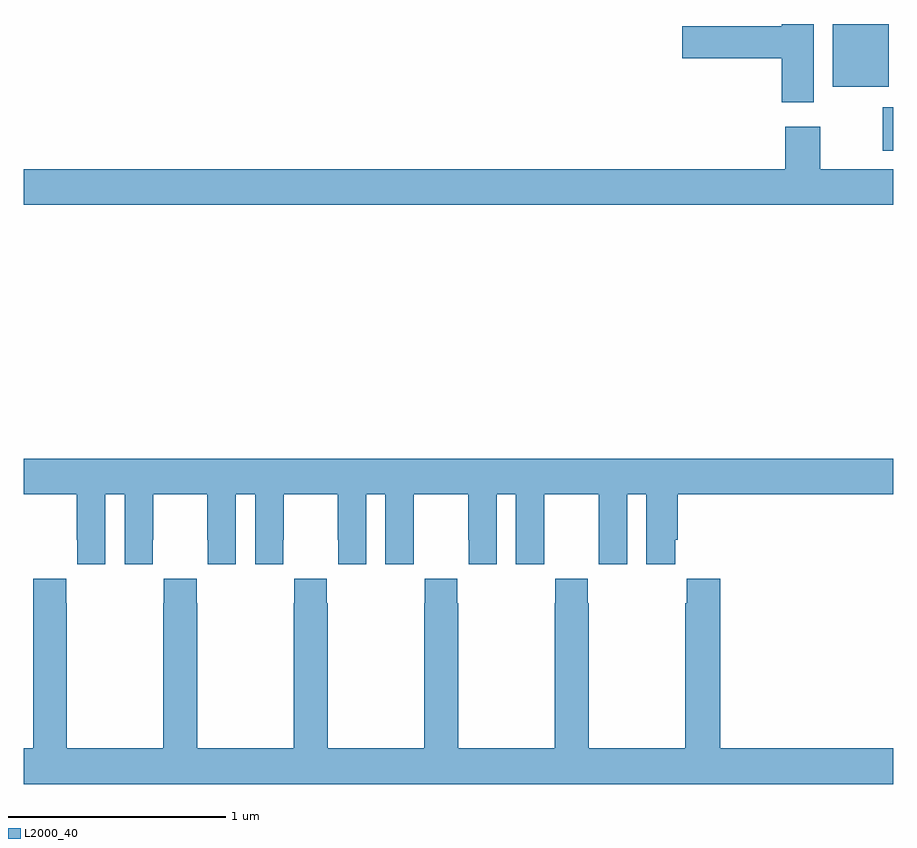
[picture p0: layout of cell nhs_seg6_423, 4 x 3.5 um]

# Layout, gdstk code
import gdstk
lib = gdstk.Library(unit=1e-6, precision=1e-09)
def R(c, l, rs):  # rectangles x0, y0, x1, y1
    for r in rs: c.add(gdstk.rectangle(r[:2], r[2:], *l))
def P(c, l, *ps):  # polygons
    for p in ps: c.add(gdstk.Polygon(p, *l))
L2000_40 = (2000, 40)

nhs_seg6_423 = lib.new_cell('nhs_seg6_423')
R(nhs_seg6_423, L2000_40, [(138.952,948.918,139,949.116), (138.722,949.211,138.979,949.5)])
P(nhs_seg6_423, L2000_40, [(138.634,949.5),(138.488,949.5),(138.488,949.49),(138.03,949.49),(138.03,949.343),(138.488,949.343),(138.488,949.14),(138.634,949.14)],
  [(139,948.832),(138.663,948.832),(138.663,949.027),(138.503,949.027),(138.503,948.832),(135,948.832),(135,948.668),(139,948.668)],
  [(135.376,947.336),(135.464,947.336),(135.464,947.016),(135.594,947.016),(135.594,947.128),(135.595,947.128),(135.595,947.336),(135.845,947.336),(135.845,947.128),(135.846,947.128),(135.846,947.016),(135.976,947.016),(135.976,947.336),(136.064,947.336),(136.064,947.016),(136.194,947.016),(136.194,947.128),(136.195,947.128),(136.195,947.336),(136.445,947.336),(136.445,947.128),(136.446,947.128),(136.446,947.016),(136.576,947.016),(136.576,947.336),(136.664,947.336),(136.664,947.016),(136.794,947.016),(136.794,947.128),(136.795,947.128),(136.795,947.336),(137.045,947.336),(137.045,947.128),(137.046,947.128),(137.046,947.016),(137.176,947.016),(137.176,947.336),(137.264,947.336),(137.264,947.016),(137.394,947.016),(137.394,947.128),(137.395,947.128),(137.395,947.336),(137.645,947.336),(137.645,947.128),(137.646,947.128),(137.646,947.016),(137.776,947.016),(137.776,947.336),(137.864,947.336),(137.864,947.016),(137.998,947.016),(137.998,947.128),(138.008,947.128),(138.008,947.336),(139,947.336),(139,947.5),(135,947.5),(135,947.336),(135.245,947.336),(135.245,947.128),(135.246,947.128),(135.246,947.016),(135.376,947.016)],
  [(139,946.168),(138.203,946.168),(138.203,946.948),(138.049,946.948),(138.049,946.835),(138.043,946.835),(138.043,946.168),(137.598,946.168),(137.598,946.835),(137.595,946.835),(137.595,946.948),(137.445,946.948),(137.445,946.835),(137.443,946.835),(137.443,946.168),(136.998,946.168),(136.998,946.835),(136.995,946.835),(136.995,946.948),(136.845,946.948),(136.845,946.835),(136.843,946.835),(136.843,946.168),(136.398,946.168),(136.398,946.835),(136.395,946.835),(136.395,946.948),(136.245,946.948),(136.245,946.835),(136.243,946.835),(136.243,946.168),(135.798,946.168),(135.798,946.835),(135.795,946.835),(135.795,946.948),(135.645,946.948),(135.645,946.835),(135.643,946.835),(135.643,946.168),(135.198,946.168),(135.198,946.835),(135.195,946.835),(135.195,946.948),(135.045,946.948),(135.045,946.835),(135.043,946.835),(135.043,946.168),(135,946.168),(135,946.004),(139,946.004)])

lib.write_gds('nhs_seg6_423.gds')
